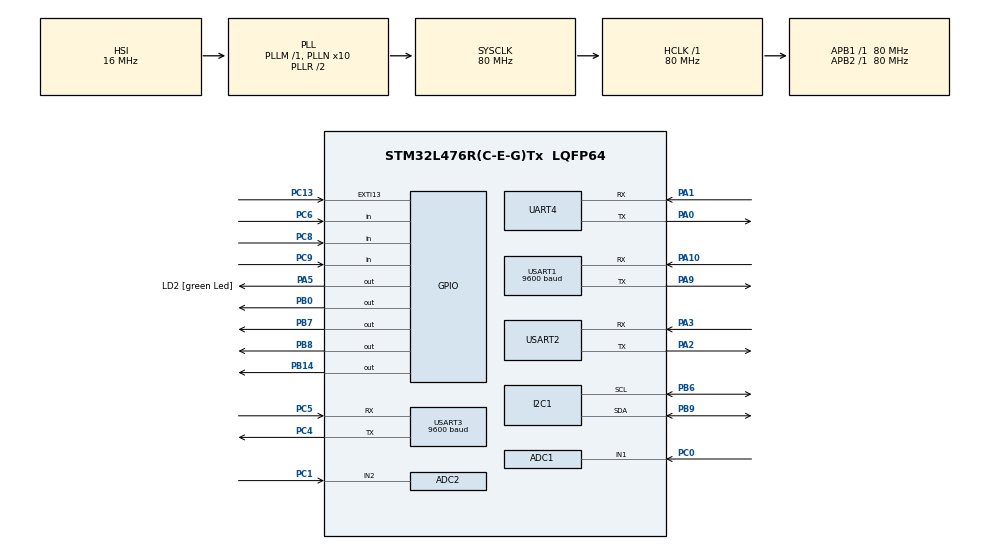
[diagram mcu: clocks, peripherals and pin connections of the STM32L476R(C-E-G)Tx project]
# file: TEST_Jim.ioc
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ADC1.Channel-0\#ChannelRegularConversion=ADC_CHANNEL_1
ADC1.NbrOfConversionFlag=1
ADC1.OffsetNumber-0\#ChannelRegularConversion=ADC_OFFSET_NONE
ADC1.Rank-0\#ChannelRegularConversion=1
ADC1.SamplingTime-0\#ChannelRegularConversion=ADC_SAMPLETIME_2CYCLES_5
ADC1.master=1
ADC2.Channel-3\#ChannelRegularConversion=ADC_CHANNEL_2
ADC2.NbrOfConversionFlag=1
ADC2.OffsetNumber-3\#ChannelRegularConversion=ADC_OFFSET_NONE
ADC2.Rank-3\#ChannelRegularConversion=1
ADC2.SamplingTime-3\#ChannelRegularConversion=ADC_SAMPLETIME_2CYCLES_5
I2C1.Timing=0x10D19CE4
Mcu.Family=STM32L4
Mcu.Name=STM32L476R(C-E-G)Tx
Mcu.Package=LQFP64
NVIC.EXTI15_10_IRQn=true\:0\:0\:false\:false\:true\:true\:true\:true
NVIC.PriorityGroup=NVIC_PRIORITYGROUP_4
PA0.Mode=Asynchronous
PA0.Signal=UART4_TX
PA1.Mode=Asynchronous
PA1.Signal=UART4_RX
PA10.Mode=Asynchronous
PA10.Signal=USART1_RX
PA13\ (JTMS-SWDIO).GPIO_Label=TMS
PA13\ (JTMS-SWDIO).Mode=Serial_Wire
PA13\ (JTMS-SWDIO).Signal=SYS_JTMS-SWDIO
PA14\ (JTCK-SWCLK).GPIO_Label=TCK
PA14\ (JTCK-SWCLK).Mode=Serial_Wire
PA14\ (JTCK-SWCLK).Signal=SYS_JTCK-SWCLK
PA2.Mode=Asynchronous
PA2.Signal=USART2_TX
PA3.Mode=Asynchronous
PA3.Signal=USART2_RX
PA5.GPIO_Label=LD2 [green Led]
PA5.GPIO_ModeDefaultOutputPP=GPIO_MODE_OUTPUT_PP
PA5.GPIO_PuPd=GPIO_NOPULL
PA5.GPIO_Speed=GPIO_SPEED_FREQ_LOW
PA5.Signal=GPIO_Output
PA9.Mode=Asynchronous
PA9.Signal=USART1_TX
PB0.Signal=GPIO_Output
PB14.Signal=GPIO_Output
PB3\ (JTDO-TRACESWO).GPIO_Label=SWO
PB3\ (JTDO-TRACESWO).Signal=SYS_JTDO-SWO
PB6.Mode=I2C
PB6.Signal=I2C1_SCL
PB7.Signal=GPIO_Output
PB8.Signal=GPIO_Output
PB9.Mode=I2C
PB9.Signal=I2C1_SDA
PC0.Signal=ADCx_IN1
PC1.Signal=ADCx_IN2
PC13.GPIO_ModeDefaultEXTI=GPIO_MODE_IT_RISING
PC13.Signal=GPXTI13
PC14-OSC32_IN\ (PC14).Mode=LSE-External-Oscillator
PC14-OSC32_IN\ (PC14).Signal=RCC_OSC32_IN
PC15-OSC32_OUT\ (PC15).Mode=LSE-External-Oscillator
PC15-OSC32_OUT\ (PC15).Signal=RCC_OSC32_OUT
PC4.Mode=Asynchronous
PC4.Signal=USART3_TX
PC5.Mode=Asynchronous
PC5.Signal=USART3_RX
PC6.GPIO_PuPd=GPIO_PULLUP
PC6.Signal=GPIO_Input
PC8.GPIO_PuPd=GPIO_PULLUP
PC8.Signal=GPIO_Input
PC9.Signal=GPIO_Input
PH0-OSC_IN\ (PH0).Signal=RCC_OSC_IN
PH1-OSC_OUT\ (PH1).Signal=RCC_OSC_OUT
ProjectManager.HeapSize=0x200
ProjectManager.StackSize=0x400
ProjectManager.TargetToolchain=STM32CubeIDE
RCC.ADCFreq_Value=64000000
RCC.AHBFreq_Value=80000000
RCC.APB1Freq_Value=80000000
RCC.APB1TimFreq_Value=80000000
RCC.APB2Freq_Value=80000000
RCC.APB2TimFreq_Value=80000000
RCC.CortexFreq_Value=80000000
RCC.HCLKFreq_Value=80000000
RCC.HSE_VALUE=8000000
RCC.HSI_VALUE=16000000
RCC.MSI_VALUE=4000000
RCC.PLLN=10
RCC.PLLSourceVirtual=RCC_PLLSOURCE_HSI
RCC.PREFETCH_ENABLE=1
RCC.SYSCLKFreq_VALUE=80000000
RCC.SYSCLKSource=RCC_SYSCLKSOURCE_PLLCLK
RCC.USBFreq_Value=64000000
RCC.VCOOutputFreq_Value=160000000
SH.ADCx_IN1.0=ADC1_IN1,IN1-Single-Ended
SH.ADCx_IN2.0=ADC2_IN2,IN2-Single-Ended
USART1.BaudRate=9600
USART1.Parity=PARITY_NONE
USART1.VirtualMode-Asynchronous=VM_ASYNC
USART2.VirtualMode-Asynchronous=VM_ASYNC
USART3.BaudRate=9600
USART3.VirtualMode-Asynchronous=VM_ASYNC
board=NUCLEO-L476RG

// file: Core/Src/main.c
/* USER CODE BEGIN Header */
/**
  ******************************************************************************
  * @file           : main.c
  * @brief          : Main program body
  ******************************************************************************
  * @attention
  *
  * Copyright (c) 2025 STMicroelectronics.
  * All rights reserved.
  *
  * This software is licensed under terms that can be found in the LICENSE file
  * in the root directory of this software component.
  * If no LICENSE file comes with this software, it is provided AS-IS.
  *
  ******************************************************************************
  */
/* USER CODE END Header */
#include "main.h"

/* USER CODE BEGIN Includes */
#include <stdbool.h>
#include <ForceSwitchSensor.h>  // 引用標頭檔

/* USER CODE END Includes */

/* USER CODE BEGIN PM */
#define PI 3.14159265358
#define FSR_THRESHOLD_PRESS   3
#define FSR_THRESHOLD_RELEASE 500
#define DEBOUNCE_DELAY_MS     50
#define WINDOW_SIZE 3

/* USER CODE END PM */

ADC_HandleTypeDef hadc1;
ADC_HandleTypeDef hadc2;

I2C_HandleTypeDef hi2c1;

UART_HandleTypeDef huart4;
UART_HandleTypeDef huart1;
UART_HandleTypeDef huart2;
UART_HandleTypeDef huart3;

/* USER CODE BEGIN PV */
ADC_HandleTypeDef hadc1;        // ADC 控制句柄
//ADC_HandleTypeDef hadc2;
I2C_HandleTypeDef hi2c1;        // I2C 控制句柄
UART_HandleTypeDef huart1;      // UART1 控制句柄
UART_HandleTypeDef huart2;      // UART2 控制句柄
UART_HandleTypeDef huart3;
//////////////////

uint8_t ledTrigger = 0;
uint32_t lastDebounceTime = 0;

//
//ADCReadContext_t fsr1Context = {0};
//ADCReadContext_t fsr2Context = {0};

////////////////////////////////////

//int fsrValueGlobal=0;
/* USER CODE END PV */

void SystemClock_Config(void);
void PeriphCommonClock_Config(void);
static void MX_GPIO_Init(void);
static void MX_ADC1_Init(void);
static void MX_I2C1_Init(void);
static void MX_USART1_UART_Init(void);
static void MX_USART2_UART_Init(void);
static void MX_USART3_UART_Init(void);
static void MX_UART4_Init(void);
static void MX_ADC2_Init(void);
/* USER CODE BEGIN PFP */
void SystemClock_Config(void);
//void transmit_data_uart(char* bufferPtr);
//void ReceiveData();
//void transmit_data_uart(void);
//void receive_data_uart(void);

/* USER CODE END PFP */

/* USER CODE BEGIN 0 */
/* 重定向 printf 到 UART */

void example(int arr[]) {
    int ww=sizeof(arr);  // ❌ 這裡不是陣列大小 w=4
}

//讀取多次平均 + 無阻塞延遲
/*
int readAnalogFSR(void)
{
    int samples = 3;
    int sum = 0;
    int adc_value=0;
    for (int i = 0; i < samples; i++) {
        HAL_ADC_Start(&hadc1);
        HAL_ADC_PollForConversion(&hadc1, 10);
        adc_value=HAL_ADC_GetValue(&hadc1);
        sum +=adc_value;
        //sum += HAL_ADC_GetValue(&hadc1);
        HAL_Delay(5);
    }
    return sum / samples;
}*/

int getSlidingAverageFSRValue(void)
{
    //int raw = readSingleADCValue();
    //int slidingAvg = slidingWindowAvg(raw);
    //return slidingAvg;
}
void receiveDataUart()
{
	/*
	char rxData[10] = {0};
	HAL_StatusTypeDef statusReceive;
	statusReceive = HAL_UART_Receive(&huart3, (uint8_t*)rxData, 1, 5000);
    if (statusReceive == HAL_OK)
    {
    	lightOnLED();
	    // 成功收到資料
	    printf("Received: %s\n", rxData);
    } else {
	    // 接收失敗或超時
	    printf("Receive timeout or error\n");
    }
    */
    ///
	char rxData[10] = {0};
    char ch;
    int i = 0;
    HAL_StatusTypeDef statusReceive;
    while (i < sizeof(rxData) - 1)
    {
    	///
    	statusReceive = HAL_UART_Receive(&huart1, (uint8_t*)&ch, 1, 6000);
		if (statusReceive == HAL_OK)
		{
			rxData[i++] = ch;
		}
		else
		{
			break; // 超時就退出
		}

    }
  rxData[i] = '\0';
  //printf("Received: %s\n", rxData);  // 應該會看到 654␍␊
    ////
}
void transmitDataUart(char* bufferPtr)
{
	HAL_StatusTypeDef statustransmit;
	int a=strlen(bufferPtr);
	//HAL_UART_Transmit(&huart2, (uint8_t*)msg, strlen(msg), HAL_MAX_DELAY);
	statustransmit=HAL_UART_Transmit(&huart1, (uint8_t*)bufferPtr, strlen(bufferPtr), 1000);//&huart2

}

void HAL_GPIO_EXTI_Callback(uint16_t GPIO_Pin)
{
  /* Prevent unused argument(s) compilation warning */
	if(GPIO_Pin == GPIO_PIN_13){
		ledTrigger = 1;
		HAL_GPIO_WritePin(GPIOB, GPIO_PIN_8, GPIO_PIN_SET);
		//HAL_GPIO_TogglePin(GPIOB, GPIO_PIN_8);  // 切換燈狀態
	    //HAL_Delay(200);
	    //將 PB8 Off
	    HAL_GPIO_WritePin(GPIOB, GPIO_PIN_8, GPIO_PIN_RESET);
		//x = (x == 0)? 1:0;
	}
}

//

////////

////////////////////

/* USER CODE END 0 */

int main(void)
{

  /* USER CODE BEGIN 1 */
  //char buffer[40]="";
  int arr[10] = {0};  // 全部初始化為 0
  int a=sizeof(arr);  // ✅ 這裡是陣列大小  a=40   10*4
  int value=2;

  //example(arr);

  /* USER CODE END 1 */

  /* MCU Configuration--------------------------------------------------------*/

  /* Reset of all peripherals, Initializes the Flash interface and the Systick. */
  HAL_Init();

  /* Configure the system clock */
  SystemClock_Config();

  /* Configure the peripherals common clocks */
  PeriphCommonClock_Config();

  /* Initialize all configured peripherals */
  MX_GPIO_Init();
  MX_ADC1_Init();
  MX_I2C1_Init();
  MX_USART1_UART_Init();
  MX_USART2_UART_Init();
  MX_USART3_UART_Init();
  MX_UART4_Init();
  MX_ADC2_Init();
  /* USER CODE BEGIN 2 */

  //SensorCode();
  /*if (HAL_UART_Transmit(&huart1, txData, sizeof(txData), 1000) != HAL_OK) {
  Error_Handler();  // 發送錯誤處理
  }*/

  // 接收數據
 // uint8_t rxData[10];
  //if (HAL_UART_Receive(&huart1, rxData, sizeof(rxData), 1000) != HAL_OK) {
  //Error_Handler();  // 接收錯誤處理
  /* USER CODE END 2 */

  /* Infinite loop */
  /* USER CODE BEGIN WHILE */
  while (1)
  {

	  //touchSensor_update();
	  //////////
	  /*
	   HAL_StatusTypeDef status_transmit;
	   HAL_StatusTypeDef statusReceive;
	   #define RX_LEN 3
	   uint8_t rxData[RX_LEN] = {0};
	   //status_transmit=HAL_UART_Transmit(&huart1, (uint8_t*)"A", 1, 1000);
	   status_transmit=HAL_UART_Transmit(&huart1, (uint8_t*)"234", RX_LEN, 1000);
	   HAL_Delay(1000);
	   int i = 0;
	   while (i < RX_LEN) {
		    HAL_Delay(1000);
	 		statusReceive = HAL_UART_Receive(&huart3, &rxData[i], 1, 10000);
	 		if (statusReceive == HAL_OK) {
	 			printf("Got char: %c\n", rxData[i]);
	 			i++;
	 		} else {
	 			printf("Timeout or error at %d chars\n", i);
	 			break;
	 		}
	 	}
		*/
	   /////////

	  //下方為同時讀取兩種感測器函式
	  ForceSwitchSensorConfig sensorInputConfig =
	  {
	      true, false, 100, 3000, true, true, false, false, 50
	  };
	  //TwoBoolResult finalState=GetForceSwitchSensor(sensorInputConfig);

	  //if(finalState.sensor1) { /* ... */ }
	  //if(finalState.sensor2) { /* ... */ }
	  /////////////////////////////////////////////////////

	  //下方為讀取力量感測器函式//
	  // 全部力量感測器回傳值//
	  bool forceSensorFinalState=false;
	  //從flash讀取力量感測器初始參數
	  uint32_t forceSensorPressDuration = 100;
	  uint32_t forcePressValueThreshold = 3000; //
	  bool isForceSensor1Enabled=true;
	  bool isForceSensor2Enabled=true;

	  //呼叫讀取所有力量感測器數值
	  uint32_t forceSensorStartTime = HAL_GetTick();

	  forceSensorFinalState=getAllForceSensorState(isForceSensor1Enabled,isForceSensor2Enabled,forceSensorPressDuration,forcePressValueThreshold);
	  uint32_t forceSensorEndTime = HAL_GetTick();
	  uint32_t forceSensorDuration = forceSensorEndTime - forceSensorStartTime;
	  ///////////////////////////////////////////////////////

	  //下方為讀取接觸開關感測器函式//
	  // 從flash讀取Touch switch enabled flags 初始參數
	  bool isTouchSwitch1Enabled = true;
	  bool isTouchSwitch2Enabled = true;
	  //bool isTouchSwitch2Enabled = false;
	  //
	  //bool isTouchSwitch3Enabled = false;
	  bool isTouchSwitch3Enabled = true;
	  bool isTouchSwitch4Enabled = true;
	  // Touch switch behavior parameters
	  uint32_t touchSwitchDebounceDuration = 100;
	  uint32_t touchSwitchPressThreshold = 3000;
	  // 全部接袃開關回傳值
	  bool touchSwitchFinalState = false;
	  //呼叫讀取所有力量感測器數值
	  uint32_t touchSwitchStartTime = HAL_GetTick();

	  //touchSwitchFinalState = getAllTouchSwitchState(isTouchSwitch1Enabled,isTouchSwitch2Enabled,isTouchSwitch3Enabled,isTouchSwitch4Enabled,touchSwitchDebounceDuration);
	  //

	  uint32_t touchSwitchEndTime = HAL_GetTick();
	  uint32_t touchSwitchDuration = touchSwitchEndTime - touchSwitchStartTime;

	  /*
	  if (ledTrigger) {
	          HAL_GPIO_WritePin(GPIOB, GPIO_PIN_8, GPIO_PIN_SET);
	          HAL_Delay(5000);
	          HAL_GPIO_WritePin(GPIOB, GPIO_PIN_8, GPIO_PIN_RESET);
	          ledTrigger = 0;
	      }
	      */
	  //HAL_GPIO_WritePin(GPIOB, GPIO_PIN_8, GPIO_PIN_SET);

	  //HAL_Delay(200);
	  //將 PB8 Off
	  //HAL_GPIO_WritePin(GPIOB, GPIO_PIN_8, GPIO_PIN_RESET);
	  //uint32_t sensor1Flag=0;
	  //uint32_t sensor2Flag=0;
	  //getAllTouchSwitchState();

	  //transmitDataUart(buffer);

	  //
	  char txData[] = "12345";
	  //char rxData[10] = "0";
	  //char rxData[10] = { '0','0','0','0','0','0','0','0','0','0' };
	  //HAL_StatusTypeDef status_transmit;
	  //HAL_StatusTypeDef status;
	  /////////////
	  //uint8_t tx = 'H';
	  //uint8_t rx = 0;
	  //HAL_Delay(2000);
	  //status=HAL_UART_Receive(&huart2, &rx, 1, 3000);//PA3
	  //status_transmit=HAL_UART_Transmit(&huart2, &rx, 1, 1000);
	  /*
	  uint8_t tx = 'HWQ';
	  uint8_t rx = 0;

	  status_transmit=HAL_UART_Transmit(&huart2, &txData, 3, 1000);  // UART1 TX（例如 PA9）
	  HAL_Delay(5000);
	  ///

	  char rxData[10] = {0};
	  char ch;
	  int i = 0;

	  while (i < sizeof(rxData) - 1)
	  {
		  status=HAL_UART_Receive(&huart2, (uint8_t*)&ch, 1, 3000) ;
	      if (status == HAL_OK)
	      {
	          rxData[i++] = ch;
	          if (ch == '\n') break;  // 遇到換行結束
	      }
	      else
	      {
	          printf("Timeout\n");
	          break;
	      }
	  }
	  rxData[i] = '\0';
	  printf("Received: %s\n", rxData);  // 應該會看到 654␍␊

	  ///
	  //status = HAL_UART_Receive(&huart2, &rxData, 2, 3000); // UART3 RX（PC5）

	  if (status == HAL_OK && rx == 'H') {
	      HAL_GPIO_TogglePin(GPIOB, GPIO_PIN_8); // 收到正確資料就閃燈
	  }
	  */
	  //
	  //status_transmit=HAL_UART_Transmit(&huart2, &tx, 1, 1000);
	  //HAL_Delay(1000);
	  //status=HAL_UART_Receive(&huart2, &rx, 1, 3000);//PA3
	  //if (status == HAL_OK) {
	    //  if (rx == 'H') {
	      //    HAL_GPIO_TogglePin(GPIOB, GPIO_PIN_8);  // 有收到正確資料就閃燈
	      //}
	  //}
	  ///////////////
/*
	  status_transmit = HAL_UART_Transmit(&huart2, (uint8_t*)txData, strlen(txData), 1000);
	  if (status != HAL_OK) {
		  //將 PB8 On起來
		  	  HAL_GPIO_WritePin(GPIOB, GPIO_PIN_8, GPIO_PIN_SET);
		  	  state = HAL_GPIO_ReadPin(GPIOC, GPIO_PIN_8);  //平常開關 沒按下 PC8 透過電阻拉到 3.3V（邏輯高，GPIO_PIN_SET
		  	  i--;
		  	  //transmit_data_uart();
		  	  HAL_Delay(200);
		  	  //將 PB8 Off
		  	  HAL_GPIO_WritePin(GPIOB, GPIO_PIN_8, GPIO_PIN_RESET);//開關 按下時： PC8 直接接地 → 邏輯低 (GPIO_PIN_RESET)
		  	  state = HAL_GPIO_ReadPin(GPIOC, GPIO_PIN_8);
		  	  //receive_data_uart();
		  	  HAL_Delay(200);
		  	  i++;
	      // 錯誤處理
	  }//uart2 才能用 虛擬 port 收發資料
	  // 接上 USB後  UART2 就會被電腦佔走,所以 UART2  TX RX 都不能用

	  status = HAL_UART_Receive(&huart2, (uint8_t*)rxData, 5, 5000);
	  if (status == HAL_OK) {
	      // 成功收到資料
	      printf("Received: %s\n", rxData);
	  } else {
	      // 接收失敗或超時
	      printf("Receive timeout or error\n");
	  }
*/
	  // 啟用力量感測器功能
	  //updateFSRState();   // 呼叫防彈跳判斷
	  HAL_Delay(50);     // 簡短延遲避免過度讀取ADC///////////////////////////////////////////////
	  //
	  //printf("Tick\r\n");
    /* USER CODE END WHILE */

    /* USER CODE BEGIN 3 */
	 // printf("Hello, jjjjjjjjjjjjjjjSTM32!\r\n");

	  //讀取類比資料adc
	  //fsrValueGlobal=readAnalogFSR();
	 // if(fsrValueGlobal>3500)
	  //{
		//  lightOnLED();
	 // }
	  //else
	  //{
	//	  fsrValueGlobal=0;
	  //}
	  //HAL_ADC_Start(&hadc1);
	  //HAL_ADC_PollForConversion(&hadc1,1);
	  //value = HAL_ADC_GetValue(&hadc1);
	  // 使用 snprintf 安全地將整數轉換為字串
	  //snprintf(buffer, sizeof(buffer), "%d", value);
	  //snprintf(buffer, sizeof(buffer), "fsr讀到的數值是: %d", value);

	  //transmit_data_uart(buffer);
	  //HAL_Delay(10);
	  //ReceiveData();
  }
  /* USER CODE END 3 */
}

void SystemClock_Config(void)
{
  RCC_OscInitTypeDef RCC_OscInitStruct = {0};
  RCC_ClkInitTypeDef RCC_ClkInitStruct = {0};

  /** Configure the main internal regulator output voltage
  */
  if (HAL_PWREx_ControlVoltageScaling(PWR_REGULATOR_VOLTAGE_SCALE1) != HAL_OK)
  {
    Error_Handler();
  }

  /** Initializes the RCC Oscillators according to the specified parameters
  * in the RCC_OscInitTypeDef structure.
  */
  RCC_OscInitStruct.OscillatorType = RCC_OSCILLATORTYPE_HSI;
  RCC_OscInitStruct.HSIState = RCC_HSI_ON;
  RCC_OscInitStruct.HSICalibrationValue = RCC_HSICALIBRATION_DEFAULT;
  RCC_OscInitStruct.PLL.PLLState = RCC_PLL_ON;
  RCC_OscInitStruct.PLL.PLLSource = RCC_PLLSOURCE_HSI;
  RCC_OscInitStruct.PLL.PLLM = 1;
  RCC_OscInitStruct.PLL.PLLN = 10;
  RCC_OscInitStruct.PLL.PLLP = RCC_PLLP_DIV7;
  RCC_OscInitStruct.PLL.PLLQ = RCC_PLLQ_DIV2;
  RCC_OscInitStruct.PLL.PLLR = RCC_PLLR_DIV2;
  if (HAL_RCC_OscConfig(&RCC_OscInitStruct) != HAL_OK)
  {
    Error_Handler();
  }

  /** Initializes the CPU, AHB and APB buses clocks
  */
  RCC_ClkInitStruct.ClockType = RCC_CLOCKTYPE_HCLK|RCC_CLOCKTYPE_SYSCLK
                              |RCC_CLOCKTYPE_PCLK1|RCC_CLOCKTYPE_PCLK2;
  RCC_ClkInitStruct.SYSCLKSource = RCC_SYSCLKSOURCE_PLLCLK;
  RCC_ClkInitStruct.AHBCLKDivider = RCC_SYSCLK_DIV1;
  RCC_ClkInitStruct.APB1CLKDivider = RCC_HCLK_DIV1;
  RCC_ClkInitStruct.APB2CLKDivider = RCC_HCLK_DIV1;

  if (HAL_RCC_ClockConfig(&RCC_ClkInitStruct, FLASH_LATENCY_4) != HAL_OK)
  {
    Error_Handler();
  }
}

void PeriphCommonClock_Config(void)
{
  RCC_PeriphCLKInitTypeDef PeriphClkInit = {0};

  /** Initializes the peripherals clock
  */
  PeriphClkInit.PeriphClockSelection = RCC_PERIPHCLK_ADC;
  PeriphClkInit.AdcClockSelection = RCC_ADCCLKSOURCE_PLLSAI1;
  PeriphClkInit.PLLSAI1.PLLSAI1Source = RCC_PLLSOURCE_HSI;
  PeriphClkInit.PLLSAI1.PLLSAI1M = 1;
  PeriphClkInit.PLLSAI1.PLLSAI1N = 8;
  PeriphClkInit.PLLSAI1.PLLSAI1P = RCC_PLLP_DIV7;
  PeriphClkInit.PLLSAI1.PLLSAI1Q = RCC_PLLQ_DIV2;
  PeriphClkInit.PLLSAI1.PLLSAI1R = RCC_PLLR_DIV2;
  PeriphClkInit.PLLSAI1.PLLSAI1ClockOut = RCC_PLLSAI1_ADC1CLK;
  if (HAL_RCCEx_PeriphCLKConfig(&PeriphClkInit) != HAL_OK)
  {
    Error_Handler();
  }
}

static void MX_ADC1_Init(void)
{

  ADC_MultiModeTypeDef multimode = {0};
  ADC_ChannelConfTypeDef sConfig = {0};

  /** Common config
  */
  hadc1.Instance = ADC1;
  hadc1.Init.ClockPrescaler = ADC_CLOCK_ASYNC_DIV1;
  hadc1.Init.Resolution = ADC_RESOLUTION_12B;
  hadc1.Init.DataAlign = ADC_DATAALIGN_RIGHT;
  hadc1.Init.ScanConvMode = ADC_SCAN_DISABLE;
  hadc1.Init.EOCSelection = ADC_EOC_SINGLE_CONV;
  hadc1.Init.LowPowerAutoWait = DISABLE;
  hadc1.Init.ContinuousConvMode = DISABLE;
  hadc1.Init.NbrOfConversion = 1;
  hadc1.Init.DiscontinuousConvMode = DISABLE;
  hadc1.Init.ExternalTrigConv = ADC_SOFTWARE_START;
  hadc1.Init.ExternalTrigConvEdge = ADC_EXTERNALTRIGCONVEDGE_NONE;
  hadc1.Init.DMAContinuousRequests = DISABLE;
  hadc1.Init.Overrun = ADC_OVR_DATA_PRESERVED;
  hadc1.Init.OversamplingMode = DISABLE;
  if (HAL_ADC_Init(&hadc1) != HAL_OK)
  {
    Error_Handler();
  }

  /** Configure the ADC multi-mode
  */
  multimode.Mode = ADC_MODE_INDEPENDENT;
  if (HAL_ADCEx_MultiModeConfigChannel(&hadc1, &multimode) != HAL_OK)
  {
    Error_Handler();
  }

  /** Configure Regular Channel
  */
  sConfig.Channel = ADC_CHANNEL_1;
  sConfig.Rank = ADC_REGULAR_RANK_1;
  sConfig.SamplingTime = ADC_SAMPLETIME_2CYCLES_5;
  sConfig.SingleDiff = ADC_SINGLE_ENDED;
  sConfig.OffsetNumber = ADC_OFFSET_NONE;
  sConfig.Offset = 0;
  if (HAL_ADC_ConfigChannel(&hadc1, &sConfig) != HAL_OK)
  {
    Error_Handler();
  }

}

static void MX_ADC2_Init(void)
{

  ADC_ChannelConfTypeDef sConfig = {0};

  /** Common config
  */
  hadc2.Instance = ADC2;
  hadc2.Init.ClockPrescaler = ADC_CLOCK_ASYNC_DIV1;
  hadc2.Init.Resolution = ADC_RESOLUTION_12B;
  hadc2.Init.DataAlign = ADC_DATAALIGN_RIGHT;
  hadc2.Init.ScanConvMode = ADC_SCAN_DISABLE;
  hadc2.Init.EOCSelection = ADC_EOC_SINGLE_CONV;
  hadc2.Init.LowPowerAutoWait = DISABLE;
  hadc2.Init.ContinuousConvMode = DISABLE;
  hadc2.Init.NbrOfConversion = 1;
  hadc2.Init.DiscontinuousConvMode = DISABLE;
  hadc2.Init.ExternalTrigConv = ADC_SOFTWARE_START;
  hadc2.Init.ExternalTrigConvEdge = ADC_EXTERNALTRIGCONVEDGE_NONE;
  hadc2.Init.DMAContinuousRequests = DISABLE;
  hadc2.Init.Overrun = ADC_OVR_DATA_PRESERVED;
  hadc2.Init.OversamplingMode = DISABLE;
  if (HAL_ADC_Init(&hadc2) != HAL_OK)
  {
    Error_Handler();
  }

  /** Configure Regular Channel
  */
  sConfig.Channel = ADC_CHANNEL_2;
  sConfig.Rank = ADC_REGULAR_RANK_1;
  sConfig.SamplingTime = ADC_SAMPLETIME_2CYCLES_5;
  sConfig.SingleDiff = ADC_SINGLE_ENDED;
  sConfig.OffsetNumber = ADC_OFFSET_NONE;
  sConfig.Offset = 0;
  if (HAL_ADC_ConfigChannel(&hadc2, &sConfig) != HAL_OK)
  {
    Error_Handler();
  }

}

static void MX_I2C1_Init(void)
{

  hi2c1.Instance = I2C1;
  hi2c1.Init.Timing = 0x10D19CE4;
  hi2c1.Init.OwnAddress1 = 0;
  hi2c1.Init.AddressingMode = I2C_ADDRESSINGMODE_7BIT;
  hi2c1.Init.DualAddressMode = I2C_DUALADDRESS_DISABLE;
  hi2c1.Init.OwnAddress2 = 0;
  hi2c1.Init.OwnAddress2Masks = I2C_OA2_NOMASK;
  hi2c1.Init.GeneralCallMode = I2C_GENERALCALL_DISABLE;
  hi2c1.Init.NoStretchMode = I2C_NOSTRETCH_DISABLE;
  if (HAL_I2C_Init(&hi2c1) != HAL_OK)
  {
    Error_Handler();
  }

  /** Configure Analogue filter
  */
  if (HAL_I2CEx_ConfigAnalogFilter(&hi2c1, I2C_ANALOGFILTER_ENABLE) != HAL_OK)
  {
    Error_Handler();
  }

  /** Configure Digital filter
  */
  if (HAL_I2CEx_ConfigDigitalFilter(&hi2c1, 0) != HAL_OK)
  {
    Error_Handler();
  }

}

static void MX_UART4_Init(void)
{

  huart4.Instance = UART4;
  huart4.Init.BaudRate = 115200;
  huart4.Init.WordLength = UART_WORDLENGTH_8B;
  huart4.Init.StopBits = UART_STOPBITS_1;
  huart4.Init.Parity = UART_PARITY_NONE;
  huart4.Init.Mode = UART_MODE_TX_RX;
  huart4.Init.HwFlowCtl = UART_HWCONTROL_NONE;
  huart4.Init.OverSampling = UART_OVERSAMPLING_16;
  huart4.Init.OneBitSampling = UART_ONE_BIT_SAMPLE_DISABLE;
  huart4.AdvancedInit.AdvFeatureInit = UART_ADVFEATURE_NO_INIT;
  if (HAL_UART_Init(&huart4) != HAL_OK)
  {
    Error_Handler();
  }

}

static void MX_USART1_UART_Init(void)
{

  huart1.Instance = USART1;
  huart1.Init.BaudRate = 9600;
  huart1.Init.WordLength = UART_WORDLENGTH_8B;
  huart1.Init.StopBits = UART_STOPBITS_1;
  huart1.Init.Parity = UART_PARITY_NONE;
  huart1.Init.Mode = UART_MODE_TX_RX;
  huart1.Init.HwFlowCtl = UART_HWCONTROL_NONE;
  huart1.Init.OverSampling = UART_OVERSAMPLING_16;
  huart1.Init.OneBitSampling = UART_ONE_BIT_SAMPLE_DISABLE;
  huart1.AdvancedInit.AdvFeatureInit = UART_ADVFEATURE_NO_INIT;
  if (HAL_UART_Init(&huart1) != HAL_OK)
  {
    Error_Handler();
  }

}

static void MX_USART2_UART_Init(void)
{

  huart2.Instance = USART2;
  huart2.Init.BaudRate = 115200;
  huart2.Init.WordLength = UART_WORDLENGTH_8B;
  huart2.Init.StopBits = UART_STOPBITS_1;
  huart2.Init.Parity = UART_PARITY_NONE;
  huart2.Init.Mode = UART_MODE_TX_RX;
  huart2.Init.HwFlowCtl = UART_HWCONTROL_NONE;
  huart2.Init.OverSampling = UART_OVERSAMPLING_16;
  huart2.Init.OneBitSampling = UART_ONE_BIT_SAMPLE_DISABLE;
  huart2.AdvancedInit.AdvFeatureInit = UART_ADVFEATURE_NO_INIT;
  if (HAL_UART_Init(&huart2) != HAL_OK)
  {
    Error_Handler();
  }

}

static void MX_USART3_UART_Init(void)
{

  huart3.Instance = USART3;
  huart3.Init.BaudRate = 9600;
  huart3.Init.WordLength = UART_WORDLENGTH_8B;
  huart3.Init.StopBits = UART_STOPBITS_1;
  huart3.Init.Parity = UART_PARITY_NONE;
  huart3.Init.Mode = UART_MODE_TX_RX;
  huart3.Init.HwFlowCtl = UART_HWCONTROL_NONE;
  huart3.Init.OverSampling = UART_OVERSAMPLING_16;
  huart3.Init.OneBitSampling = UART_ONE_BIT_SAMPLE_DISABLE;
  huart3.AdvancedInit.AdvFeatureInit = UART_ADVFEATURE_NO_INIT;
  if (HAL_UART_Init(&huart3) != HAL_OK)
  {
    Error_Handler();
  }

}

static void MX_GPIO_Init(void)
{
  GPIO_InitTypeDef GPIO_InitStruct = {0};

  /* GPIO Ports Clock Enable */
  __HAL_RCC_GPIOC_CLK_ENABLE();
  __HAL_RCC_GPIOH_CLK_ENABLE();
  __HAL_RCC_GPIOA_CLK_ENABLE();
  __HAL_RCC_GPIOB_CLK_ENABLE();

  /*Configure GPIO pin Output Level */
  HAL_GPIO_WritePin(LD2_GPIO_Port, LD2_Pin, GPIO_PIN_RESET);

  /*Configure GPIO pin Output Level */
  HAL_GPIO_WritePin(GPIOB, GPIO_PIN_0|GPIO_PIN_14|GPIO_PIN_7|GPIO_PIN_8, GPIO_PIN_RESET);

  /*Configure GPIO pin : PC13 */
  GPIO_InitStruct.Pin = GPIO_PIN_13;
  GPIO_InitStruct.Mode = GPIO_MODE_IT_RISING;
  GPIO_InitStruct.Pull = GPIO_NOPULL;
  HAL_GPIO_Init(GPIOC, &GPIO_InitStruct);

  /*Configure GPIO pin : LD2_Pin */
  GPIO_InitStruct.Pin = LD2_Pin;
  GPIO_InitStruct.Mode = GPIO_MODE_OUTPUT_PP;
  GPIO_InitStruct.Pull = GPIO_NOPULL;
  GPIO_InitStruct.Speed = GPIO_SPEED_FREQ_LOW;
  HAL_GPIO_Init(LD2_GPIO_Port, &GPIO_InitStruct);

  /*Configure GPIO pins : PB0 PB14 PB7 PB8 */
  GPIO_InitStruct.Pin = GPIO_PIN_0|GPIO_PIN_14|GPIO_PIN_7|GPIO_PIN_8;
  GPIO_InitStruct.Mode = GPIO_MODE_OUTPUT_PP;
  GPIO_InitStruct.Pull = GPIO_NOPULL;
  GPIO_InitStruct.Speed = GPIO_SPEED_FREQ_LOW;
  HAL_GPIO_Init(GPIOB, &GPIO_InitStruct);

  /*Configure GPIO pins : PC6 PC8 */
  GPIO_InitStruct.Pin = GPIO_PIN_6|GPIO_PIN_8;
  GPIO_InitStruct.Mode = GPIO_MODE_INPUT;
  GPIO_InitStruct.Pull = GPIO_PULLUP;
  HAL_GPIO_Init(GPIOC, &GPIO_InitStruct);

  /*Configure GPIO pin : PC9 */
  GPIO_InitStruct.Pin = GPIO_PIN_9;
  GPIO_InitStruct.Mode = GPIO_MODE_INPUT;
  GPIO_InitStruct.Pull = GPIO_NOPULL;
  HAL_GPIO_Init(GPIOC, &GPIO_InitStruct);

  /* EXTI interrupt init*/
  HAL_NVIC_SetPriority(EXTI15_10_IRQn, 0, 0);
  HAL_NVIC_EnableIRQ(EXTI15_10_IRQn);

}

void Error_Handler(void)
{
  __disable_irq();
  while (1)
  {
  }
}
